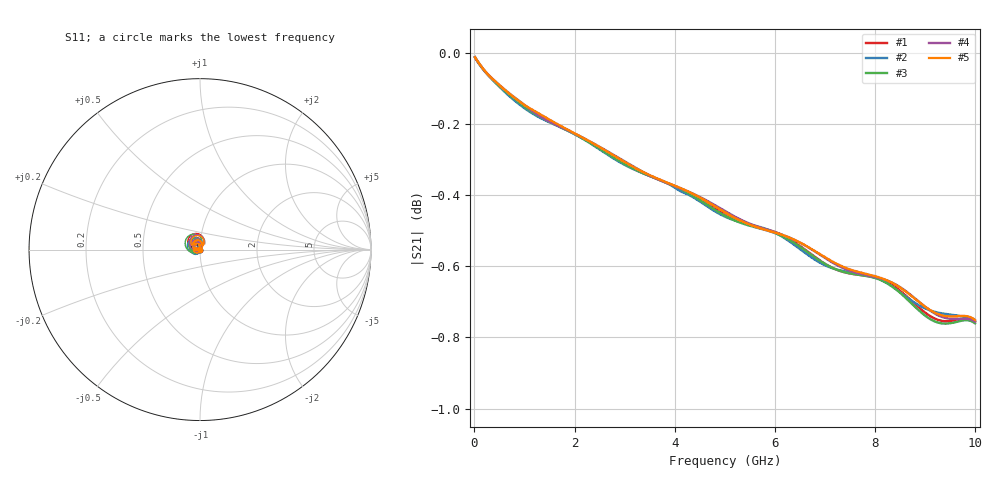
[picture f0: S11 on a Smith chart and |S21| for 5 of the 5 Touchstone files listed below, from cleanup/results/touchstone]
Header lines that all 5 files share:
! Layout cleanup equivalence validation - 38 mm 50 ohm stripline
! Solver: Ansys HFSS 3D Layout 2026 R1, broadband adaptive 1-5 GHz,
!  Delta S 0.02, interpolating sweep 10 MHz - 10 GHz
# GHz S MA R 50.000000
! Terminal data exported
! Port[1] = U1.PAD1.SIG
! Port[2] = U2.PAD1.SIG
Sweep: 10 MHz to 10 GHz
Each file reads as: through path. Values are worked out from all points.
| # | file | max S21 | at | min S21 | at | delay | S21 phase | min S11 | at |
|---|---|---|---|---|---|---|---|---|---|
| 1 | baseline_all_clutter_kept.s2p | -0.01 dB | 10 MHz | -0.8 dB | 10 GHz | 260 ps | -111 deg at 5.01 GHz | -57.3 dB | 10 MHz |
| 2 | cleanup_guard0p3mm_all_removed.s2p | -0.01 dB | 10 MHz | -0.8 dB | 10 GHz | 261 ps | -112 deg at 5.01 GHz | -63.7 dB | 5.96 GHz |
| 3 | cleanup_guard1mm.s2p | -0.01 dB | 10 MHz | -0.8 dB | 9.41 GHz | 261 ps | -111 deg at 5.01 GHz | -65.0 dB | 4.085 GHz |
| 4 | cleanup_guard3mm.s2p | -0.01 dB | 10 MHz | -0.8 dB | 10 GHz | 260 ps | -110 deg at 5.01 GHz | -70.0 dB | 4.41 GHz |
| 5 | cleanup_guard6mm.s2p | -0.01 dB | 10 MHz | -0.8 dB | 10 GHz | 260 ps | -110 deg at 5.01 GHz | -57.6 dB | 10 MHz |
